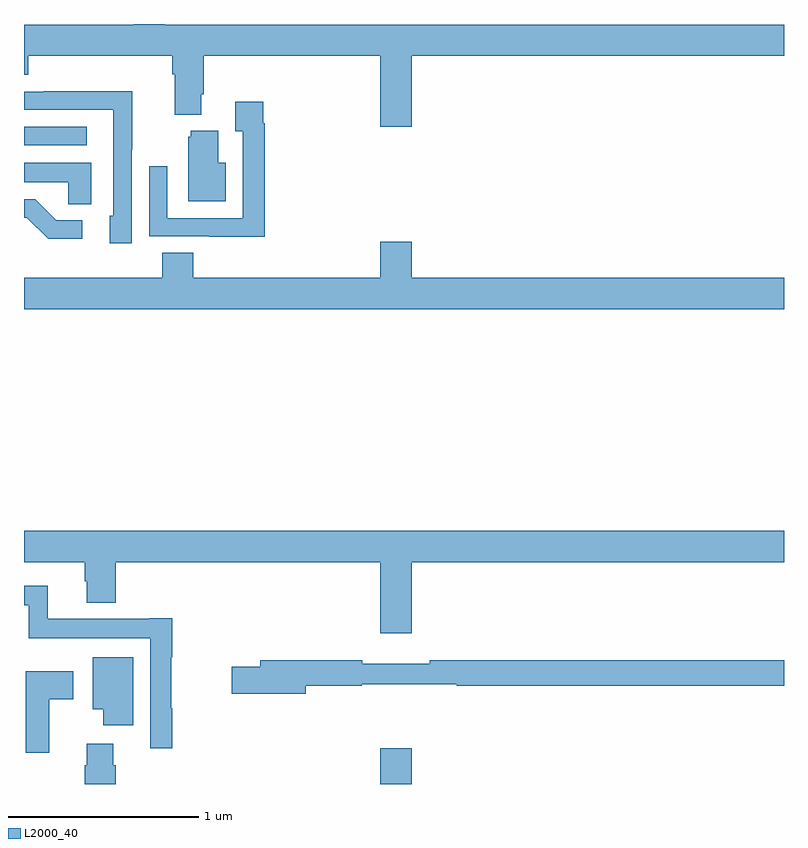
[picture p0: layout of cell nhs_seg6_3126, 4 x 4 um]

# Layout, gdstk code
import gdstk
lib = gdstk.Library(unit=1e-6, precision=1e-09)
def R(c, l, rs):  # rectangles x0, y0, x1, y1
    for r in rs: c.add(gdstk.rectangle(r[:2], r[2:], *l))
def P(c, l, *ps):  # polygons
    for p in ps: c.add(gdstk.Polygon(p, *l))
L2000_40 = (2000, 40)

nhs_seg6_3126 = lib.new_cell('nhs_seg6_3126')
R(nhs_seg6_3126, L2000_40, [(296.876,947.5,297.04,947.689), (295,950.862,295.33,950.958)])
P(nhs_seg6_3126, L2000_40, [(295.577,951.496),(295,951.496),(295,951.233),(295.022,951.233),(295.022,951.332),(295.781,951.332),(295.781,951.236),(295.793,951.236),(295.793,951.023),(295.933,951.023),(295.933,951.13),(295.946,951.13),(295.946,951.332),(296.876,951.332),(296.876,950.958),(297.04,950.958),(297.04,951.332),(299,951.332),(299,951.496),(295.742,951.496),(295.742,951.5),(295.577,951.5)],
  [(295.566,950.839),(295.569,950.839),(295.569,951.146),(295.105,951.146),(295.105,951.144),(295,951.144),(295,951.048),(295.47,951.048),(295.47,950.49),(295.451,950.49),(295.451,950.346),(295.566,950.346)],
  [(296.267,950.978),(296.26,950.978),(296.26,951.091),(296.111,951.091),(296.111,950.935),(296.151,950.935),(296.151,950.478),(295.755,950.478),(295.755,950.752),(295.659,950.752),(295.659,950.382),(295.975,950.382),(295.975,950.381),(296.267,950.381)],
  [(296.062,950.77),(296.023,950.77),(296.023,950.938),(295.877,950.938),(295.877,950.907),(295.865,950.907),(295.865,950.567),(296.062,950.567)],
  [(295.354,950.77),(295,950.77),(295,950.666),(295.233,950.666),(295.233,950.551),(295.354,950.551)],
  [(295.306,950.466),(295.171,950.466),(295.06,950.577),(295,950.577),(295,950.481),(295.014,950.481),(295.127,950.369),(295.306,950.369)],
  [(299,950.164),(297.04,950.164),(297.04,950.353),(296.876,950.353),(296.876,950.164),(295.892,950.164),(295.892,950.297),(295.727,950.297),(295.727,950.164),(295,950.164),(295,950),(299,950)],
  [(297.04,948.668),(299,948.668),(299,948.832),(295,948.832),(295,948.668),(295.319,948.668),(295.319,948.567),(295.331,948.567),(295.331,948.455),(295.484,948.455),(295.484,948.668),(296.876,948.668),(296.876,948.294),(297.04,948.294)],
  [(295.781,947.9),(295.774,947.9),(295.774,948.166),(295.781,948.166),(295.781,948.373),(295.658,948.373),(295.658,948.37),(295.124,948.37),(295.124,948.544),(295,948.544),(295,948.44),(295.026,948.44),(295.026,948.266),(295.665,948.266),(295.665,947.688),(295.781,947.688)],
  [(295.576,948.166),(295.361,948.166),(295.361,947.894),(295.418,947.894),(295.418,947.808),(295.576,947.808)],
  [(296.482,948.016),(296.778,948.016),(296.778,948.024),(297.278,948.024),(297.278,948.016),(299,948.016),(299,948.152),(297.136,948.152),(297.136,948.133),(296.78,948.133),(296.78,948.152),(296.243,948.152),(296.243,948.116),(296.094,948.116),(296.094,947.974),(296.482,947.974)],
  [(295.132,947.947),(295.258,947.947),(295.258,948.094),(295.01,948.094),(295.01,947.664),(295.132,947.664)],
  [(295.471,947.598),(295.471,947.713),(295.331,947.713),(295.331,947.598),(295.319,947.598),(295.319,947.5),(295.484,947.5),(295.484,947.598)])

lib.write_gds('nhs_seg6_3126.gds')
